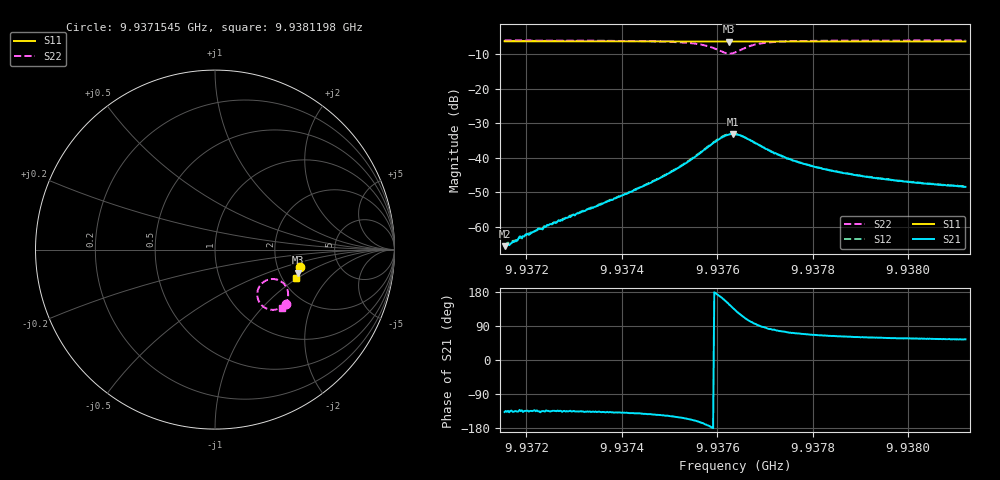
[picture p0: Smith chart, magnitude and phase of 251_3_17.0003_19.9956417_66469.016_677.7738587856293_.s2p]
#  HZ  S  RI  R  50.00
! Rohde & Schwarz Vector Network Analyzer
! Rohde-Schwarz,ZNB20-2Port,1311601062101988,3.16
! Created: UTC 3/20/2024, 11:03:18 PM
! freq[Hz]  re:S11  im:S11  re:S21  im:S21  re:S12  im:S12  re:S22  im:S22
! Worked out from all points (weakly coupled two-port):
!   401 points, 9.9371545 GHz to 9.9381198 GHz, reference 50 ohm
!   highest |S21| = -33.06 dB at 9.9376323 GHz (marker M1); lowest = -65.5 dB at 9.9371545 GHz (marker M2)
!   lowest |S11| = -6.4 dB at 9.9376251 GHz (marker M3), VSWR 2.84, Z = 126 - j41.8 ohm
!   |S11| at or under -10 dB: nowhere
!   |S22| runs from -9.9 to -6.1 dB; largest |S21 - S12| = 0.00096
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9.93715446e9  0.4742 -0.0976  -0.00039 -0.000361  -0.000364 -0.000384  0.3952 -0.3008
9.93716894e9  0.4739 -0.0984  -0.000405 -0.000426  -0.000441 -0.000414  0.3946 -0.3017
9.93718825e9  0.4736 -0.0997  -0.000515 -0.000514  -0.000504 -0.00049  0.3929 -0.3032
9.93720514e9  0.4732 -0.1009  -0.000553 -0.000536  -0.000578 -0.000567  0.3914 -0.3045
9.93724858e9  0.4725 -0.1038  -0.000779 -0.000768  -0.00077 -0.000776  0.3877 -0.308
9.93731616e9  0.4709 -0.1084  -0.0012 -0.00118  -0.00119 -0.00117  0.3807 -0.314
9.93741029e9  0.469 -0.1147  -0.00227 -0.00198  -0.00237 -0.00195  0.3663 -0.3239
9.93747786e9  0.4674 -0.1193  -0.00411 -0.00287  -0.00422 -0.00285  0.3478 -0.3319
9.93752372e9  0.4662 -0.1226  -0.00668 -0.00354  -0.00688 -0.00349  0.3241 -0.336
9.9375744e9  0.4643 -0.1258  -0.013 -0.00233  -0.0135 -0.0023  0.2726 -0.3207
9.93760578e9  0.4629 -0.1273  -0.0186 0.00402  -0.0189 0.00476  0.2361 -0.2611
9.93762508e9  0.4622 -0.1276  -0.0181 0.0121  -0.0182 0.0127  0.2519 -0.199
9.93763233e9  0.4623 -0.1276  -0.0165 0.0149  -0.0161 0.0155  0.2706 -0.1803
9.93763715e9  0.4624 -0.1279  -0.0148 0.0162  -0.0144 0.017  0.2856 -0.1715
9.9376637e9  0.4627 -0.129  -0.00506 0.018  -0.00462 0.0183  0.3627 -0.1743
9.93769266e9  0.4629 -0.1313  0.000494 0.0146  0.000787 0.0147  0.3985 -0.2115
9.93771438e9  0.4627 -0.1329  0.00203 0.0119  0.00218 0.0121  0.4063 -0.2343
9.93774576e9  0.4621 -0.1353  0.0028 0.00933  0.00289 0.00937  0.4076 -0.257
9.93779885e9  0.4609 -0.1391  0.00302 0.00694  0.00318 0.00696  0.403 -0.2798
9.93786402e9  0.4594 -0.1433  0.00282 0.0053  0.00297 0.00532  0.3963 -0.2954
9.93796056e9  0.4569 -0.1498  0.00257 0.00411  0.00266 0.00408  0.3876 -0.3093
9.93811985e9  0.4528 -0.1601  0.00221 0.0031  0.00234 0.00312  0.3758 -0.3241
